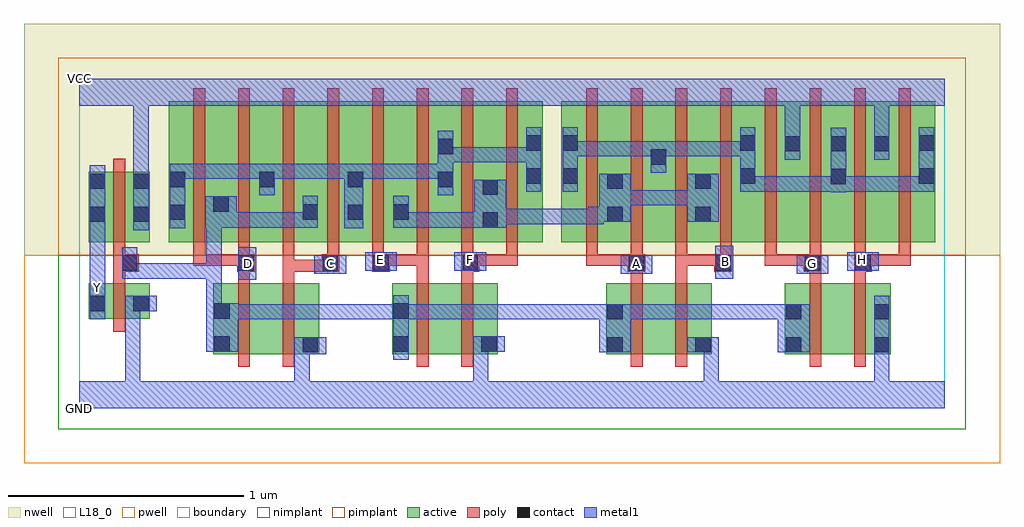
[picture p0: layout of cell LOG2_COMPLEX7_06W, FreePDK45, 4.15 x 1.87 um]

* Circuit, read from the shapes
.subckt LOG2_COMPLEX7_06W A B C D E F G GND H VCC Y
M1 GND n1 Y VSUBS nfet w=0.15u l=0.05u
M2 n2 D n1 VSUBS nfet w=0.3u l=0.05u
M3 GND C n2 VSUBS nfet w=0.3u l=0.05u
M4 n3 E n1 VSUBS nfet w=0.3u l=0.05u
M5 GND F n3 VSUBS nfet w=0.3u l=0.05u
M6 n4 A n1 VSUBS nfet w=0.3u l=0.05u
M7 GND B n4 VSUBS nfet w=0.3u l=0.05u
M8 n5 G n1 VSUBS nfet w=0.3u l=0.05u
M9 GND H n5 VSUBS nfet w=0.3u l=0.05u
M10 VCC n1 Y n6 pfet w=0.3u l=0.05u
M11 n1 D n7 n6 pfet w=0.6u l=0.05u m=2
M12 n1 C n7 n6 pfet w=0.6u l=0.05u m=2
M13 n8 E n7 n6 pfet w=0.6u l=0.05u m=2
M14 n8 F n7 n6 pfet w=0.6u l=0.05u m=2
M15 n8 A n9 n6 pfet w=0.6u l=0.05u m=2
M16 n8 B n9 n6 pfet w=0.6u l=0.05u m=2
M17 VCC G n9 n6 pfet w=0.6u l=0.05u m=2
M18 VCC H n9 n6 pfet w=0.6u l=0.05u m=2
.ends

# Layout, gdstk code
import gdstk
lib = gdstk.Library(unit=1e-6, precision=1e-09)
def R(c, l, rs):  # rectangles x0, y0, x1, y1
    for r in rs: c.add(gdstk.rectangle(r[:2], r[2:], *l))
def A(c, l, x, y, w, h, nx, ny, dx, dy):  # array of equal rectangles
    R(c, l, [(x+i*dx, y+j*dy, x+i*dx+w, y+j*dy+h) for i in range(nx) for j in range(ny)])
active = (1, 0)
pwell = (2, 0)
nwell = (3, 0)
nimplant = (4, 0)
pimplant = (5, 0)
poly = (9, 0)
contact = (10, 0)
metal1 = (11, 0)
L18_0 = (18, 0)
boundary = (235, 0)

log2_complex7_06w = lib.new_cell('LOG2_COMPLEX7_06W')
A(log2_complex7_06w, active, 2.425, 0.705, 0.265, 0.6, 3, 1, 0.19, 0)
R(log2_complex7_06w, active, [(0.57,0.23,0.645,0.53), (0.57,0.23,0.795,0.53), (0.795,0.23,1.02,0.53), (0.945,0.23,1.02,0.53), (1.33,0.23,1.405,0.53), (1.33,0.23,1.555,0.53), (1.555,0.23,1.78,0.53), (1.705,0.23,1.78,0.53), (2.24,0.23,2.315,0.53), (2.24,0.23,2.465,0.53), (2.465,0.23,2.69,0.53), (2.615,0.23,2.69,0.53), (3,0.23,3.075,0.53), (3,0.23,3.225,0.53), (3.225,0.23,3.45,0.53), (3.375,0.23,3.45,0.53), (0.04,0.38,0.115,0.53), (0.04,0.38,0.3,0.53), (0.225,0.38,0.3,0.53), (0.04,0.705,0.115,1.005), (0.04,0.705,0.3,1.005), (0.225,0.705,0.3,1.005), (0.38,0.705,0.455,1.2), (0.38,0.705,0.64,1.305), (0.565,0.705,0.835,1.305), (0.565,0.705,0.64,1.07), (0.76,0.705,0.835,1.2), (0.76,0.705,1.02,1.305), (0.945,0.705,1.02,1.07), (0.945,0.705,1.212,1.305), (1.137,0.705,1.212,1.2), (1.137,0.705,1.405,1.305), (1.33,0.705,1.595,1.305), (1.33,0.705,1.405,1.07), (1.52,0.705,1.595,1.2), (1.52,0.705,1.785,1.305), (1.71,0.705,1.97,1.305), (1.71,0.705,1.785,1.07), (1.895,0.705,1.97,1.2), (2.05,0.705,2.125,1.2), (2.05,0.705,2.315,1.305), (2.24,0.705,2.5,1.305), (2.24,0.705,2.315,1.07), (2.425,0.705,2.5,1.2), (2.615,0.705,2.69,1.07), (2.805,0.705,2.88,1.2), (2.995,0.705,3.07,1.305), (2.995,0.705,3.265,1.305), (3.19,0.705,3.265,1.2), (3.19,0.705,3.45,1.305), (3.375,0.705,3.64,1.305), (3.375,0.705,3.45,1.305), (3.565,0.705,3.64,1.2)])
R(log2_complex7_06w, pwell, [(-0.235,-0.235,3.915,0.65)])
R(log2_complex7_06w, nwell, [(-0.235,0.65,3.915,1.635)])
R(log2_complex7_06w, nimplant, [(-0.09,-0.09,3.77,0.65)])
R(log2_complex7_06w, pimplant, [(-0.09,0.65,3.77,1.49)])
A(log2_complex7_06w, poly, 1.055, 0.605, 0.05, 0.095, 5, 1, 0.19, 0)
A(log2_complex7_06w, poly, 2.155, 0.605, 0.05, 0.095, 8, 1, 0.19, 0)
A(log2_complex7_06w, poly, 0.485, 0.65, 0.05, 0.71, 8, 1, 0.19, 0)
A(log2_complex7_06w, poly, 2.155, 0.65, 0.05, 0.71, 8, 1, 0.19, 0)
R(log2_complex7_06w, poly, [(0.675,0.175,0.725,0.585), (0.865,0.175,0.915,0.585), (1.435,0.175,1.485,0.585), (1.625,0.175,1.675,0.585), (2.345,0.175,2.395,0.585), (2.535,0.175,2.585,0.585), (3.105,0.175,3.155,0.585), (3.295,0.175,3.345,0.585), (0.145,0.325,0.195,0.585), (0.145,0.535,0.195,0.63), (0.675,0.535,0.725,0.63), (0.865,0.535,0.915,0.63), (1.435,0.535,1.485,0.655), (1.625,0.535,1.675,0.63), (2.345,0.535,2.395,0.63), (2.535,0.535,2.585,0.655), (3.105,0.535,3.155,0.63), (3.295,0.535,3.345,0.63), (0.145,0.58,0.252,0.655), (0.672,0.58,0.747,0.655), (0.865,0.58,0.915,0.63), (0.865,0.58,1.08,0.63), (0.865,0.58,0.915,0.7), (1.03,0.58,1.08,0.63), (1.03,0.58,1.08,0.63), (1.03,0.58,1.105,0.655), (1.245,0.58,1.32,0.655), (1.625,0.58,1.7,0.655), (2.332,0.58,2.407,0.655), (2.7,0.58,2.775,0.655), (3.08,0.58,3.155,0.655), (3.295,0.58,3.37,0.655), (0.145,0.605,0.195,0.7), (0.485,0.605,0.535,0.7), (0.485,0.605,0.535,0.655), (0.485,0.605,0.722,0.655), (0.672,0.605,0.722,0.655), (0.672,0.605,0.722,0.655), (0.675,0.605,0.725,0.7), (1.27,0.605,1.32,0.655), (1.27,0.605,1.32,0.655), (1.27,0.605,1.485,0.655), (1.435,0.605,1.485,0.655), (1.65,0.605,1.865,0.655), (1.815,0.605,1.865,0.655), (1.815,0.605,1.865,0.655), (1.815,0.605,1.865,0.655), (2.155,0.605,2.205,0.655), (2.155,0.605,2.382,0.655), (2.332,0.605,2.382,0.655), (2.332,0.605,2.382,0.655), (2.535,0.605,2.585,0.655), (2.535,0.605,2.585,0.655), (2.535,0.605,2.585,0.655), (2.535,0.605,2.75,0.655), (2.915,0.605,2.965,0.655), (2.915,0.605,3.13,0.655), (3.08,0.605,3.13,0.655), (3.08,0.605,3.13,0.655), (3.32,0.605,3.535,0.655), (3.485,0.605,3.535,0.655), (3.485,0.605,3.535,0.655), (3.485,0.605,3.535,0.655), (0.145,0.65,0.195,1.06)])
R(log2_complex7_06w, contact, [(0.95,0.237,1.015,0.302), (2.245,0.237,2.31,0.302), (2.62,0.237,2.685,0.302), (3.005,0.237,3.07,0.302), (3.38,0.237,3.445,0.302), (0.575,0.24,0.64,0.305), (1.335,0.24,1.4,0.305), (1.71,0.24,1.775,0.305), (2.245,0.377,2.31,0.442), (3.005,0.377,3.07,0.442), (3.38,0.377,3.445,0.442), (0.575,0.38,0.64,0.445), (1.335,0.38,1.4,0.445), (0.045,0.412,0.11,0.477), (0.23,0.412,0.295,0.477), (0.182,0.585,0.247,0.65), (0.677,0.585,0.742,0.65), (1.035,0.585,1.1,0.65), (1.25,0.585,1.315,0.65), (1.63,0.585,1.695,0.65), (2.337,0.585,2.402,0.65), (2.705,0.585,2.77,0.65), (3.085,0.585,3.15,0.65), (3.3,0.585,3.365,0.65), (1.715,0.767,1.78,0.832), (0.045,0.792,0.11,0.857), (0.23,0.792,0.295,0.857), (2.245,0.792,2.31,0.857), (2.62,0.792,2.685,0.857), (0.385,0.8,0.45,0.865), (1.142,0.8,1.207,0.865), (0.95,0.802,1.015,0.867), (1.335,0.802,1.4,0.867), (0.57,0.835,0.635,0.9), (1.715,0.907,1.78,0.972), (0.045,0.932,0.11,0.997), (0.23,0.932,0.295,0.997), (2.245,0.932,2.31,0.997), (2.62,0.932,2.685,0.997), (0.385,0.94,0.45,1.005), (0.765,0.94,0.83,1.005), (1.142,0.94,1.207,1.005), (1.525,0.94,1.59,1.005), (3.195,0.952,3.26,1.017), (1.9,0.955,1.965,1.02), (2.055,0.955,2.12,1.02), (2.81,0.955,2.875,1.02), (3.57,0.955,3.635,1.02), (2.43,1.035,2.495,1.1), (1.525,1.08,1.59,1.145), (3,1.092,3.065,1.157), (3.195,1.092,3.26,1.157), (3.38,1.092,3.445,1.157), (1.9,1.095,1.965,1.16), (2.055,1.095,2.12,1.16), (2.81,1.095,2.875,1.16), (3.57,1.095,3.635,1.16)])
R(log2_complex7_06w, metal1, [(0,0,3.68,0.115), (0.195,0.05,0.26,0.115), (0.195,0.05,0.26,0.115), (0.195,0.05,0.26,0.115), (0.195,0.05,0.26,0.115), (0.195,0.05,0.26,0.115), (0.195,0.05,0.26,0.115), (0.195,0.05,0.26,0.477), (0.915,0.05,0.98,0.115), (0.915,0.05,0.98,0.115), (0.915,0.05,0.98,0.295), (1.675,0.05,1.74,0.115), (1.675,0.05,1.74,0.115), (1.675,0.05,1.74,0.115), (1.675,0.05,1.74,0.115), (1.675,0.05,1.74,0.305), (2.655,0.05,2.72,0.115), (2.655,0.05,2.72,0.115), (2.655,0.05,2.72,0.302), (3.38,0.05,3.445,0.115), (3.38,0.05,3.445,0.115), (3.38,0.05,3.445,0.267), (3.38,0.202,3.445,0.267), (3.38,0.202,3.445,0.267), (3.38,0.202,3.445,0.477), (1.335,0.205,1.4,0.48), (0.915,0.23,0.98,0.295), (0.915,0.23,0.98,0.295), (0.915,0.23,1.05,0.302), (2.21,0.237,2.345,0.442), (2.585,0.237,2.72,0.302), (2.655,0.237,2.72,0.302), (2.655,0.237,2.72,0.302), (2.97,0.237,3.105,0.442), (0.54,0.24,0.675,0.445), (1.675,0.24,1.81,0.305), (0.045,0.377,0.11,0.512), (0.61,0.377,0.675,0.442), (0.61,0.377,0.675,0.442), (0.61,0.377,0.842,0.442), (0.777,0.377,0.842,0.442), (0.777,0.377,0.842,0.442), (0.777,0.377,0.842,0.442), (0.777,0.377,1.047,0.442), (0.982,0.377,1.047,0.442), (0.982,0.377,1.047,0.442), (0.982,0.377,1.047,0.442), (0.982,0.377,1.185,0.442), (1.12,0.377,1.185,0.442), (1.12,0.377,1.185,0.442), (1.12,0.377,1.185,0.442), (1.12,0.377,1.4,0.442), (1.335,0.377,1.4,0.442), (1.335,0.377,1.4,0.442), (1.335,0.377,1.602,0.442), (1.537,0.377,1.602,0.442), (1.537,0.377,1.602,0.442), (1.537,0.377,1.602,0.442), (1.537,0.377,1.74,0.442), (1.675,0.377,1.74,0.442), (1.675,0.377,1.885,0.442), (1.82,0.377,1.885,0.442), (1.82,0.377,2.022,0.442), (1.957,0.377,2.022,0.442), (1.957,0.377,2.022,0.442), (1.957,0.377,2.022,0.442), (1.957,0.377,2.16,0.442), (2.095,0.377,2.16,0.442), (2.095,0.377,2.275,0.442), (2.28,0.377,2.482,0.442), (2.417,0.377,2.482,0.442), (2.417,0.377,2.482,0.442), (2.417,0.377,2.482,0.442), (2.417,0.377,2.632,0.442), (2.567,0.377,2.632,0.442), (2.567,0.377,2.632,0.442), (2.567,0.377,2.632,0.442), (2.567,0.377,2.84,0.442), (2.775,0.377,2.84,0.442), (2.775,0.377,2.84,0.442), (2.775,0.377,2.84,0.442), (2.775,0.377,2.977,0.442), (2.912,0.377,2.977,0.442), (2.912,0.377,3.035,0.442), (0.54,0.38,0.605,0.615), (0.195,0.412,0.33,0.477), (0.045,0.447,0.11,0.512), (0.045,0.447,0.11,0.582), (0.045,0.517,0.11,0.822), (0.677,0.545,0.752,0.685), (0.182,0.55,0.247,0.615), (0.182,0.55,0.247,0.615), (0.182,0.55,0.247,0.685), (0.182,0.55,0.462,0.615), (0.397,0.55,0.462,0.615), (0.397,0.55,0.462,0.615), (0.397,0.55,0.462,0.615), (0.397,0.55,0.605,0.615), (0.54,0.55,0.605,0.615), (0.54,0.55,0.605,0.832), (2.705,0.55,2.78,0.69), (1,0.572,1.135,0.65), (2.302,0.572,2.437,0.65), (3.05,0.572,3.185,0.65), (1.215,0.585,1.35,0.662), (1.595,0.585,1.73,0.662), (3.265,0.585,3.4,0.662), (0.045,0.757,0.11,1.032), (0.23,0.757,0.295,1.032), (0.385,0.765,0.45,1.04), (1.127,0.765,1.207,1.04), (0.535,0.767,0.67,0.9), (0.605,0.767,0.67,0.832), (0.605,0.767,0.67,0.832), (0.605,0.767,0.842,0.832), (0.777,0.767,0.842,0.832), (0.777,0.767,0.842,0.832), (0.777,0.767,0.842,0.832), (0.777,0.767,1.015,0.832), (0.95,0.767,1.015,0.902), (1.335,0.767,1.4,0.902), (1.335,0.767,1.427,0.832), (1.362,0.767,1.427,0.832), (1.362,0.767,1.59,0.832), (1.525,0.767,1.59,0.832), (1.525,0.767,1.745,0.832), (1.68,0.767,1.745,0.832), (1.68,0.767,1.745,0.832), (1.68,0.767,1.815,0.972), (1.75,0.782,1.885,0.847), (1.82,0.782,1.885,0.847), (1.82,0.782,2.022,0.847), (1.957,0.782,2.022,0.847), (1.957,0.782,2.022,0.847), (1.957,0.782,2.022,0.847), (1.957,0.782,2.23,0.847), (2.165,0.782,2.23,0.857), (2.165,0.792,2.275,0.857), (2.21,0.792,2.345,0.997), (2.585,0.792,2.72,0.997), (2.28,0.862,2.482,0.927), (2.417,0.862,2.482,0.927), (2.417,0.862,2.482,0.927), (2.417,0.862,2.482,0.927), (2.417,0.862,2.632,0.927), (2.567,0.862,2.632,0.927), (2.567,0.862,2.65,0.927), (0.765,0.905,0.832,1.04), (1.525,0.905,1.59,1.18), (3.195,0.917,3.262,1.192), (1.9,0.92,1.965,1.195), (2.055,0.92,2.12,1.195), (2.81,0.92,2.875,0.985), (2.81,0.92,2.875,0.985), (2.81,0.92,2.875,1.195), (2.81,0.92,2.977,0.985), (2.912,0.92,2.977,0.985), (2.912,0.92,3.115,0.985), (3.05,0.92,3.115,0.985), (3.05,0.92,3.115,0.985), (3.05,0.92,3.115,0.985), (3.05,0.92,3.26,0.985), (3.197,0.92,3.262,0.985), (3.197,0.92,3.262,0.985), (3.197,0.92,3.497,0.985), (3.432,0.92,3.497,0.985), (3.432,0.92,3.635,0.985), (3.57,0.92,3.635,0.985), (3.57,0.92,3.635,0.985), (3.57,0.92,3.635,1.195), (0.23,0.967,0.295,1.032), (0.23,0.967,0.295,1.032), (0.23,0.967,0.295,1.35), (0.385,0.975,0.525,1.04), (0.46,0.975,0.525,1.04), (0.46,0.975,0.692,1.04), (0.627,0.975,0.692,1.04), (0.627,0.975,0.692,1.04), (0.627,0.975,0.692,1.04), (0.627,0.975,0.83,1.04), (0.767,0.975,0.832,1.04), (0.767,0.975,0.832,1.04), (0.767,0.975,1.047,1.04), (0.982,0.975,1.047,1.04), (0.982,0.975,1.047,1.04), (0.982,0.975,1.047,1.04), (0.982,0.975,1.192,1.04), (1.142,0.975,1.235,1.04), (1.17,0.975,1.235,1.04), (1.17,0.975,1.452,1.04), (1.387,0.975,1.452,1.04), (1.387,0.975,1.452,1.04), (1.387,0.975,1.452,1.04), (1.387,0.975,1.59,1.04), (2.43,1,2.495,1.135), (1.525,1.045,1.59,1.11), (1.525,1.045,1.59,1.11), (1.525,1.045,1.74,1.11), (1.675,1.045,1.74,1.11), (1.675,1.045,1.885,1.11), (1.82,1.045,1.885,1.11), (1.82,1.045,1.965,1.11), (3,1.057,3.065,1.192), (3.38,1.057,3.445,1.192), (2.055,1.07,2.16,1.135), (2.095,1.07,2.16,1.135), (2.095,1.07,2.257,1.135), (2.192,1.07,2.257,1.135), (2.192,1.07,2.495,1.135), (2.43,1.07,2.495,1.135), (2.43,1.07,2.495,1.135), (2.43,1.07,2.632,1.135), (2.567,1.07,2.632,1.135), (2.567,1.07,2.632,1.135), (2.567,1.07,2.632,1.135), (2.567,1.07,2.84,1.135), (2.775,1.07,2.84,1.135), (2.775,1.07,2.875,1.135), (3,1.127,3.065,1.35), (3.38,1.127,3.445,1.35), (0,1.285,3.68,1.4), (0.23,1.285,0.295,1.35), (0.23,1.285,0.295,1.35)])
R(log2_complex7_06w, L18_0, [(0,0,3.68,0.115), (0.195,0.05,0.26,0.115), (0.195,0.05,0.26,0.115), (0.195,0.05,0.26,0.115), (0.195,0.05,0.26,0.115), (0.195,0.05,0.26,0.115), (0.195,0.05,0.26,0.115), (0.195,0.05,0.26,0.477), (0.915,0.05,0.98,0.115), (0.915,0.05,0.98,0.115), (0.915,0.05,0.98,0.295), (1.675,0.05,1.74,0.115), (1.675,0.05,1.74,0.115), (1.675,0.05,1.74,0.115), (1.675,0.05,1.74,0.115), (1.675,0.05,1.74,0.305), (2.655,0.05,2.72,0.115), (2.655,0.05,2.72,0.115), (2.655,0.05,2.72,0.302), (3.38,0.05,3.445,0.115), (3.38,0.05,3.445,0.115), (3.38,0.05,3.445,0.267), (3.38,0.202,3.445,0.267), (3.38,0.202,3.445,0.267), (3.38,0.202,3.445,0.477), (0.915,0.23,0.98,0.295), (0.915,0.23,0.98,0.295), (0.915,0.23,1.05,0.302), (2.585,0.237,2.72,0.302), (2.655,0.237,2.72,0.302), (2.655,0.237,2.72,0.302), (1.675,0.24,1.81,0.305), (0.045,0.377,0.11,0.512), (0.195,0.412,0.33,0.477), (0.045,0.447,0.11,0.582), (0.045,0.447,0.11,0.512), (0.045,0.482,0.11,0.547), (0.045,0.517,0.11,0.822), (0.677,0.545,0.752,0.685), (2.705,0.55,2.78,0.69), (1,0.572,1.135,0.65), (2.302,0.572,2.437,0.65), (3.05,0.572,3.185,0.65), (0.687,0.585,0.752,0.65), (1.035,0.585,1.1,0.65), (1.215,0.585,1.35,0.662), (1.595,0.585,1.73,0.662), (2.337,0.585,2.402,0.65), (3.085,0.585,3.15,0.65), (3.265,0.585,3.4,0.662), (2.715,0.59,2.78,0.655), (1.25,0.597,1.315,0.662), (1.63,0.597,1.695,0.662), (3.3,0.597,3.365,0.662), (0.045,0.757,0.11,1.032), (0.23,0.757,0.295,1.032), (0.23,0.967,0.295,1.032), (0.23,0.967,0.295,1.032), (0.23,0.967,0.295,1.35), (3,1.057,3.065,1.192), (3.38,1.057,3.445,1.192), (3,1.127,3.065,1.35), (3.38,1.127,3.445,1.35), (0,1.285,3.68,1.4), (0.23,1.285,0.295,1.35), (0.23,1.285,0.295,1.35)])
R(log2_complex7_06w, boundary, [(0,0,3.68,1.4)])
log2_complex7_06w.add(gdstk.Label('A', (2.37,0.617), layer=11, texttype=0))
log2_complex7_06w.add(gdstk.Label('B', (2.747,0.622), layer=11, texttype=0))
log2_complex7_06w.add(gdstk.Label('C', (1.067,0.617), layer=11, texttype=0))
log2_complex7_06w.add(gdstk.Label('D', (0.72,0.617), layer=11, texttype=0))
log2_complex7_06w.add(gdstk.Label('E', (1.282,0.63), layer=11, texttype=0))
log2_complex7_06w.add(gdstk.Label('F', (1.662,0.63), layer=11, texttype=0))
log2_complex7_06w.add(gdstk.Label('G', (3.117,0.617), layer=11, texttype=0))
log2_complex7_06w.add(gdstk.Label('H', (3.332,0.63), layer=11, texttype=0))
log2_complex7_06w.add(gdstk.Label('Y', (0.077,0.515), layer=11, texttype=0))
log2_complex7_06w.add(gdstk.Label('VCC', (0,1.4), layer=11, texttype=0))
log2_complex7_06w.add(gdstk.Label('GND', (0,0), layer=11, texttype=0))

lib.write_gds('LOG2_COMPLEX7_06W.gds')
